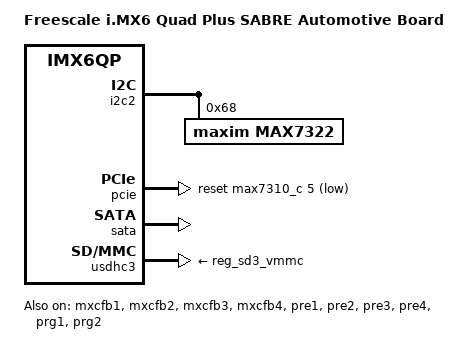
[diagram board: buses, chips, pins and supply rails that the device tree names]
/*
 * Copyright 2016 Freescale Semiconductor, Inc.
 *
 * This file is dual-licensed: you can use it either under the terms
 * of the GPL or the X11 license, at your option. Note that this dual
 * licensing only applies to this file, and not this project as a
 * whole.
 *
 *  a) This file is free software; you can redistribute it and/or
 *     modify it under the terms of the GNU General Public License as
 *     published by the Free Software Foundation; either version 2 of the
 *     License, or (at your option) any later version.
 *
 *     This file is distributed in the hope that it will be useful,
 *     but WITHOUT ANY WARRANTY; without even the implied warranty of
 *     MERCHANTABILITY or FITNESS FOR A PARTICULAR PURPOSE.  See the
 *     GNU General Public License for more details.
 *
 * Or, alternatively,
 *
 *  b) Permission is hereby granted, free of charge, to any person
 *     obtaining a copy of this software and associated documentation
 *     files (the "Software"), to deal in the Software without
 *     restriction, including without limitation the rights to use,
 *     copy, modify, merge, publish, distribute, sublicense, and/or
 *     sell copies of the Software, and to permit persons to whom the
 *     Software is furnished to do so, subject to the following
 *     conditions:
 *
 *     The above copyright notice and this permission notice shall be
 *     included in all copies or substantial portions of the Software.
 *
 *     THE SOFTWARE IS PROVIDED "AS IS", WITHOUT WARRANTY OF ANY KIND,
 *     EXPRESS OR IMPLIED, INCLUDING BUT NOT LIMITED TO THE WARRANTIES
 *     OF MERCHANTABILITY, FITNESS FOR A PARTICULAR PURPOSE AND
 *     NONINFRINGEMENT. IN NO EVENT SHALL THE AUTHORS OR COPYRIGHT
 *     HOLDERS BE LIABLE FOR ANY CLAIM, DAMAGES OR OTHER LIABILITY,
 *     WHETHER IN AN ACTION OF CONTRACT, TORT OR OTHERWISE, ARISING
 *     FROM, OUT OF OR IN CONNECTION WITH THE SOFTWARE OR THE USE OR
 *     OTHER DEALINGS IN THE SOFTWARE.
 */

/dts-v1/;

#include "imx6qp.dtsi"
#include "imx6qdl-sabreauto.dtsi"

/ {
	model = "Freescale i.MX6 Quad Plus SABRE Automotive Board";
	compatible = "fsl,imx6qp-sabreauto", "fsl,imx6qp";
};

&ldb {
	lvds-channel@0 {
		crtc = "ipu2-di0";
	};

	lvds-channel@1 {
		crtc = "ipu2-di1";
	};
};

&mxcfb1 {
	prefetch;
	status = "okay";
};

&mxcfb2 {
	prefetch;
	status = "okay";
};

&mxcfb3 {
	prefetch;
	status = "okay";
};

&mxcfb4 {
	prefetch;
	status = "okay";
};

&fec {
	pinctrl-assert-gpios = <&max7322 0 GPIO_ACTIVE_HIGH>;
};

&i2c2 {
	max7322: gpio@68 {
		compatible = "maxim,max7322";
		reg = <0x68>;
		gpio-controller;
		#gpio-cells = <2>;
	};
};

&pcie {
	reset-gpio = <&max7310_c 5 GPIO_ACTIVE_LOW>;
	status = "okay";
};

&pre1 {
	status = "okay";
};

&pre2 {
	status = "okay";
};

&pre3 {
	status = "okay";
};

&pre4 {
	status = "okay";
};

&prg1 {
	memory-region = <&memory>;
	status = "okay";
};

&prg2 {
	memory-region = <&memory>;
	status = "okay";
};

&reg_sd3_vmmc {
	status = "okay";
};

&sata {
	status = "okay";
};

&usdhc3 {
	vmmc-supply = <&reg_sd3_vmmc>;
};

&vgen3_reg {
	regulator-always-on;
};
